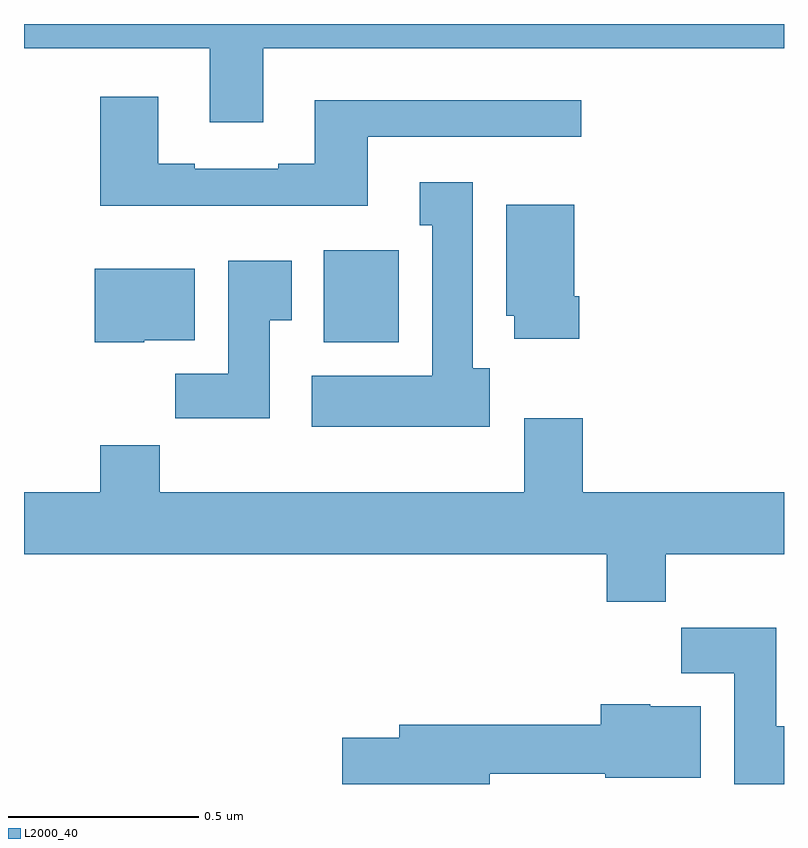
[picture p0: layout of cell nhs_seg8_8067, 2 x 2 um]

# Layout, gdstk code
import gdstk
lib = gdstk.Library(unit=1e-6, precision=1e-09)
def R(c, l, rs):  # rectangles x0, y0, x1, y1
    for r in rs: c.add(gdstk.rectangle(r[:2], r[2:], *l))
def P(c, l, *ps):  # polygons
    for p in ps: c.add(gdstk.Polygon(p, *l))
L2000_40 = (2000, 40)

nhs_seg8_8067 = lib.new_cell('nhs_seg8_8067')
R(nhs_seg8_8067, L2000_40, [(218.789,1113.062,218.986,1113.304)])
P(nhs_seg8_8067, L2000_40, [(218.629,1113.836),(220,1113.836),(220,1113.9),(218,1113.9),(218,1113.836),(218.489,1113.836),(218.489,1113.642),(218.629,1113.642)],
  [(218.905,1113.603),(219.466,1113.603),(219.466,1113.7),(218.765,1113.7),(218.765,1113.532),(218.669,1113.532),(218.669,1113.519),(218.449,1113.519),(218.449,1113.532),(218.353,1113.532),(218.353,1113.709),(218.201,1113.709),(218.201,1113.422),(218.905,1113.422)],
  [(219.226,1112.994),(219.181,1112.994),(219.181,1113.484),(219.041,1113.484),(219.041,1113.371),(219.074,1113.371),(219.074,1112.974),(218.757,1112.974),(218.757,1112.84),(219.226,1112.84)],
  [(219.461,1113.184),(219.448,1113.184),(219.448,1113.424),(219.269,1113.424),(219.269,1113.132),(219.29,1113.132),(219.29,1113.072),(219.461,1113.072)],
  [(218.647,1113.121),(218.704,1113.121),(218.704,1113.277),(218.537,1113.277),(218.537,1112.98),(218.398,1112.98),(218.398,1112.862),(218.647,1112.862)],
  [(218.316,1113.068),(218.449,1113.068),(218.449,1113.256),(218.186,1113.256),(218.186,1113.062),(218.316,1113.062)],
  [(219.689,1112.504),(220,1112.504),(220,1112.668),(219.47,1112.668),(219.47,1112.863),(219.317,1112.863),(219.317,1112.668),(218.357,1112.668),(218.357,1112.792),(218.201,1112.792),(218.201,1112.668),(218,1112.668),(218,1112.504),(219.533,1112.504),(219.533,1112.38),(219.689,1112.38)],
  [(220,1112.052),(219.979,1112.052),(219.979,1112.311),(219.73,1112.311),(219.73,1112.192),(219.869,1112.192),(219.869,1111.9),(220,1111.9)],
  [(219.226,1111.927),(219.53,1111.927),(219.53,1111.916),(219.781,1111.916),(219.781,1112.104),(219.648,1112.104),(219.648,1112.11),(219.518,1112.11),(219.518,1112.056),(218.987,1112.056),(218.987,1112.022),(218.838,1112.022),(218.838,1111.9),(219.226,1111.9)])

lib.write_gds('nhs_seg8_8067.gds')
